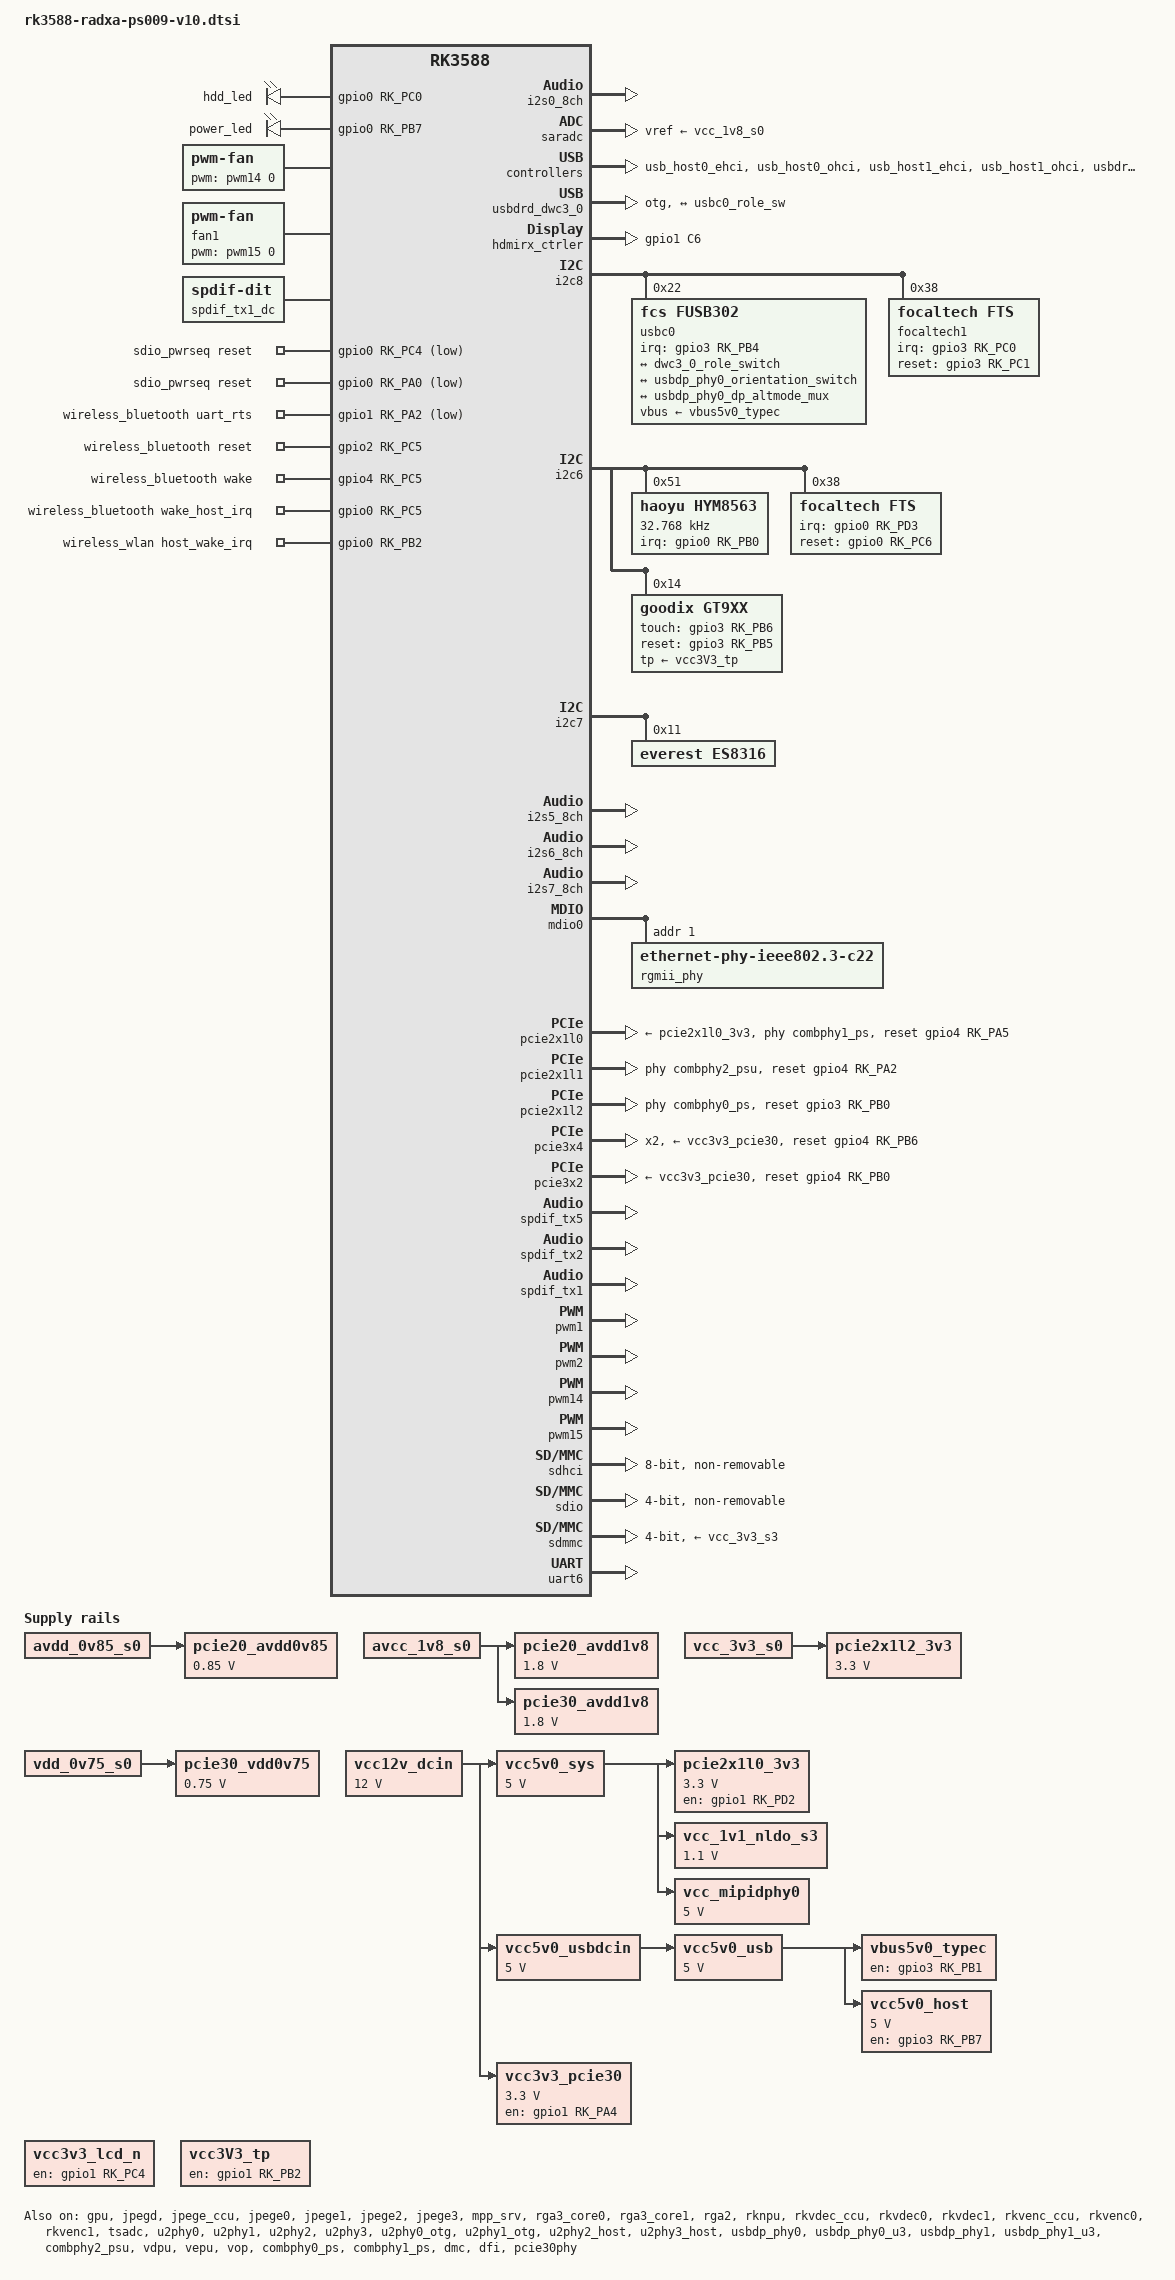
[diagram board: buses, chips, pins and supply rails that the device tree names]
// SPDX-License-Identifier: (GPL-2.0+ OR MIT)
/*
 * Copyright (c) 2021 Rockchip Electronics Co., Ltd.
 *
 */

#include <dt-bindings/gpio/gpio.h>
#include <dt-bindings/pwm/pwm.h>
#include <dt-bindings/pinctrl/rockchip.h>
#include <dt-bindings/input/rk-input.h>
#include <dt-bindings/display/drm_mipi_dsi.h>
#include <dt-bindings/display/rockchip_vop.h>
#include <dt-bindings/sensor-dev.h>
#include "dt-bindings/usb/pd.h"
#include "rk3588.dtsi"
#include "rk3588-rk806-ps009-v10.dtsi"


/ {
	aliases {
		mmc0 = &sdmmc;
		mmc1 = &sdhci;
		mmc2 = &sdio;
	};

	adc_keys: adc-keys {
		compatible = "adc-keys";
		io-channels = <&saradc 1>;
		io-channel-names = "buttons";
		keyup-threshold-microvolt = <1800000>;
		poll-interval = <100>;
	};

	hdmi0_sound: hdmi0-sound {
		status = "disabled";
		compatible = "rockchip,hdmi";
		rockchip,mclk-fs = <128>;
		rockchip,card-name = "rockchip-hdmi0";
		rockchip,cpu = <&i2s5_8ch>;
		rockchip,codec = <&hdmi0>;
		rockchip,jack-det;
	};

	hdmi1_sound: hdmi1-sound {
		status = "okay";
		compatible = "rockchip,hdmi";
		rockchip,mclk-fs = <128>;
		rockchip,card-name = "rockchip-hdmi1";
		rockchip,cpu = <&i2s6_8ch>;
		rockchip,codec = <&hdmi1>;
		rockchip,jack-det;
	};

	dp0_sound: dp0-sound {
		status = "okay";
		compatible = "rockchip,hdmi";
		rockchip,card-name= "rockchip,dp0";
		rockchip,mclk-fs = <512>;
		rockchip,cpu = <&spdif_tx2>;
		rockchip,codec = <&dp0 1>;
		rockchip,jack-det;
	};

	dp1_sound: dp1-sound {
		status = "okay";
		compatible = "rockchip,hdmi";
		rockchip,card-name= "rockchip,dp1";
		rockchip,mclk-fs = <512>;
		rockchip,cpu = <&spdif_tx5>;
		rockchip,codec = <&dp1 1>;
		rockchip,jack-det;
	};

	leds: leds {
		compatible = "gpio-leds";
		hdd_led: hdd-led {
			gpios = <&gpio0 RK_PC0 GPIO_ACTIVE_HIGH>;
			linux,default-trigger = "heartbeat";
		};
		power_led: power-led {
			gpios = <&gpio0 RK_PB7 GPIO_ACTIVE_HIGH>;
			linux,default-trigger = "default-on";
		};
	};

	vcc12v_dcin: vcc12v-dcin {
		compatible = "regulator-fixed";
		regulator-name = "vcc12v_dcin";
		regulator-always-on;
		regulator-boot-on;
		regulator-min-microvolt = <12000000>;
		regulator-max-microvolt = <12000000>;
	};

	vcc5v0_sys: vcc5v0-sys {
		compatible = "regulator-fixed";
		regulator-name = "vcc5v0_sys";
		regulator-always-on;
		regulator-boot-on;
		regulator-min-microvolt = <5000000>;
		regulator-max-microvolt = <5000000>;
		vin-supply = <&vcc12v_dcin>;
	};

	vcc5v0_usbdcin: vcc5v0-usbdcin {
		compatible = "regulator-fixed";
		regulator-name = "vcc5v0_usbdcin";
		regulator-always-on;
		regulator-boot-on;
		regulator-min-microvolt = <5000000>;
		regulator-max-microvolt = <5000000>;
		vin-supply = <&vcc12v_dcin>;
	};

	vcc5v0_usb: vcc5v0-usb {
		compatible = "regulator-fixed";
		regulator-name = "vcc5v0_usb";
		regulator-always-on;
		regulator-boot-on;
		regulator-min-microvolt = <5000000>;
		regulator-max-microvolt = <5000000>;
		vin-supply = <&vcc5v0_usbdcin>;
	};

	/* If hdmirx node is disabled, delete the reserved-memory node here. */
	reserved-memory {
		#address-cells = <2>;
		#size-cells = <2>;
		ranges;

		/* Reserve 256MB memory for hdmirx-controller@fdee0000 */
		cma {
			compatible = "shared-dma-pool";
			reusable;
			reg = <0x0 (256 * 0x100000) 0x0 (256 * 0x100000)>;
			linux,cma-default;
		};
	};

	es8316_sound: es8316-sound {
		status = "okay";
		compatible = "simple-audio-card";
		simple-audio-card,format = "i2s";
		simple-audio-card,mclk-fs = <256>;
		simple-audio-card,name = "rockchip,es8316-codec";
		simple-audio-card,dai-link@0 {
			format = "i2s";
			cpu {
				sound-dai = <&i2s0_8ch>;
			};
			codec {
				sound-dai = <&es8316>;
			};
		};
	};

	fan: pwm-fan {
		compatible = "pwm-fan";
		#cooling-cells = <2>;
		pwms = <&pwm14 0 50000 0>;
		cooling-levels = <0 50 100 150 200 255>;
		rockchip,temp-trips = <
                50000   1
                55000   2
                60000   3
                65000   4
                70000   5
        >;
	};

	fan1: pwm-fan1 {
		compatible = "pwm-fan";
		#cooling-cells = <2>;
		pwms = <&pwm15 0 50000 0>;
		cooling-levels = <0 50 100 150 200 255>;
		rockchip,temp-trips = <
                50000   1
                55000   2
                60000   3
                65000   4
                70000   5
        >;
	};

    spdif_tx1_dc: spdif-tx1-dc {
        status = "okay";
        compatible = "linux,spdif-dit";
        #sound-dai-cells = <0>;
    };

    spdif_tx1_sound: spdif-tx1-sound {
        status = "okay";
        compatible = "simple-audio-card";
        simple-audio-card,mclk-fs = <128>;
        simple-audio-card,name = "rockchip,spdif-tx1";
        simple-audio-card,cpu {
            sound-dai = <&spdif_tx1>;
        };
        simple-audio-card,codec {
            sound-dai = <&spdif_tx1_dc>;
        };
    };



	hdmiin_dc: hdmiin-dc {
		compatible = "rockchip,dummy-codec";
		#sound-dai-cells = <0>;
	};

	hdmiin-sound {
		compatible = "simple-audio-card";
		simple-audio-card,format = "i2s";
		simple-audio-card,name = "rockchip,hdmiin";
		simple-audio-card,bitclock-master = <&dailink0_master>;
		simple-audio-card,frame-master = <&dailink0_master>;
		status = "okay";
		simple-audio-card,cpu {
			sound-dai = <&i2s7_8ch>;
		};
		dailink0_master: simple-audio-card,codec {
			sound-dai = <&hdmiin_dc>;
		};
	};

	pcie20_avdd0v85: pcie20-avdd0v85 {
		compatible = "regulator-fixed";
		regulator-name = "pcie20_avdd0v85";
		regulator-boot-on;
		regulator-always-on;
		regulator-min-microvolt = <850000>;
		regulator-max-microvolt = <850000>;
		vin-supply = <&avdd_0v85_s0>;
	};

	pcie20_avdd1v8: pcie20-avdd1v8 {
		compatible = "regulator-fixed";
		regulator-name = "pcie20_avdd1v8";
		regulator-boot-on;
		regulator-always-on;
		regulator-min-microvolt = <1800000>;
		regulator-max-microvolt = <1800000>;
		vin-supply = <&avcc_1v8_s0>;
	};

    // PCIe 2.0 E-Key Socket ( Wireless NIC )
	pcie2x1l0_3v3: pcie2x1l1-3v3 {
		compatible = "regulator-fixed";
		regulator-name = "pcie2x1l0_3v3";
		regulator-min-microvolt = <3300000>;
		regulator-max-microvolt = <3300000>;
		regulator-boot-on;
		regulator-always-on;
		enable-active-high;
		gpios = <&gpio1 RK_PD2 GPIO_ACTIVE_HIGH>;
		startup-delay-us = <5000>;
		vin-supply = <&vcc5v0_sys>;
		regulator-state-mem {
			regulator-off-in-suspend;
		};
	};

	pcie2x1l2_3v3: pcie2x1l2-3v3 {
		compatible = "regulator-fixed";
		regulator-name = "pcie2x1l2_3v3";
		regulator-min-microvolt = <3300000>;
		regulator-max-microvolt = <3300000>;
		regulator-boot-on;
		regulator-always-on;
		startup-delay-us = <5000>;
		vin-supply = <&vcc_3v3_s0>;
	};

	pcie30_vdd0v75: pcie30-avdd0v75 {
		compatible = "regulator-fixed";
		regulator-name = "pcie30_vdd0v75";
		regulator-boot-on;
		regulator-always-on;
		regulator-min-microvolt = <750000>;
		regulator-max-microvolt = <750000>;
		vin-supply = <&vdd_0v75_s0>;
	};

	pcie30_avdd1v8: pcie30-avdd1v8 {
		compatible = "regulator-fixed";
		regulator-name = "pcie30_avdd1v8";
		regulator-boot-on;
		regulator-always-on;
		regulator-min-microvolt = <1800000>;
		regulator-max-microvolt = <1800000>;
		vin-supply = <&avcc_1v8_s0>;
	};

	rk_headset: rk-headset {
		status = "disabled";
		compatible = "rockchip_headset";
		headset_gpio = <&gpio1 RK_PD5 GPIO_ACTIVE_LOW>;
		pinctrl-names = "default";
		pinctrl-0 = <&hp_det>;
		io-channels = <&saradc 3>;
	};

	vbus5v0_typec: vbus5v0-typec {
		compatible = "regulator-fixed";
		regulator-name = "vbus5v0_typec";
		gpio = <&gpio3 RK_PB1 GPIO_ACTIVE_HIGH>;
		enable-active-high;
		vin-supply = <&vcc5v0_usb>;
		pinctrl-names = "default";
		pinctrl-0 = <&typec5v_pwren>;
	};

	vcc_1v1_nldo_s3: vcc-1v1-nldo-s3 {
		compatible = "regulator-fixed";
		regulator-name = "vcc_1v1_nldo_s3";
		regulator-always-on;
		regulator-boot-on;
		regulator-min-microvolt = <1100000>;
		regulator-max-microvolt = <1100000>;
		vin-supply = <&vcc5v0_sys>;
	};

	vcc3v3_lcd_n: vcc3v3-lcd0-n {
		compatible = "regulator-fixed";
		regulator-name = "vcc3v3_lcd0_n";
		regulator-boot-on;
		enable-active-high;
		gpio = <&gpio1 RK_PC4 GPIO_ACTIVE_HIGH>;
		regulator-state-mem {
			regulator-off-in-suspend;
		};
	};

	vcc3v3_pcie30: vcc3v3-pcie30 {
		compatible = "regulator-fixed";
		regulator-name = "vcc3v3_pcie30";
		regulator-min-microvolt = <3300000>;
		regulator-max-microvolt = <3300000>;
		enable-active-high;
		gpios = <&gpio1 RK_PA4 GPIO_ACTIVE_HIGH>;
		startup-delay-us = <5000>;
		vin-supply = <&vcc12v_dcin>;
	};

	vcc5v0_host: vcc5v0-host {
		compatible = "regulator-fixed";
		regulator-name = "vcc5v0_host";
		regulator-boot-on;
		regulator-always-on;
		regulator-min-microvolt = <5000000>;
		regulator-max-microvolt = <5000000>;
		enable-active-high;
		gpio = <&gpio3 RK_PB7 GPIO_ACTIVE_HIGH>;
		vin-supply = <&vcc5v0_usb>;
		pinctrl-names = "default";
		pinctrl-0 = <&vcc5v0_host_en>;
	};

	vcc3V3_tp: vcc3V3-tp {
		compatible = "regulator-fixed";
		gpio = <&gpio1 RK_PB2 GPIO_ACTIVE_HIGH>;
		pinctrl-names = "default";
		pinctrl-0 = <&tp_pwr>;
		regulator-name = "vcc3V3_tp";
		enable-active-high;
	};

/*
	vcc_mipicsi0: vcc-mipicsi0-regulator {
		compatible = "regulator-fixed";
		gpio = <&gpio1 RK_PB1 GPIO_ACTIVE_HIGH>;
		pinctrl-names = "default";
		pinctrl-0 = <&mipicsi0_pwr>;
		regulator-name = "vcc_mipicsi0";
		enable-active-high;
	};

	vcc_mipicsi1: vcc-mipicsi1-regulator {
		compatible = "regulator-fixed";
		gpio = <&gpio1 RK_PB2 GPIO_ACTIVE_HIGH>;
		pinctrl-names = "default";
		pinctrl-0 = <&mipicsi1_pwr>;
		regulator-name = "vcc_mipicsi1";
		enable-active-high;
	};
*/
	vcc_mipidphy0: vcc-mipidphy0-regulator {
		compatible = "regulator-fixed";
		regulator-name = "vcc_mipidphy0";
		regulator-min-microvolt = <5000000>;
		regulator-max-microvolt = <5000000>;
		vin-supply = <&vcc5v0_sys>;
	};

	sdio_pwrseq: sdio-pwrseq {
        compatible = "mmc-pwrseq-simple";
        clocks = <&hym8563>;
        clock-names = "ext_clock";
        pinctrl-names = "default";
        pinctrl-0 = <&wifi_enable_h>;
        /*
         * On the module itself this is one of these (depending
         * on the actual card populated):
         * - SDIO_RESET_L_WL_REG_ON
         * - PDN (power down when low)
         */
        post-power-on-delay-ms = <500>;
		reset-gpios = <&gpio0 RK_PC4 GPIO_ACTIVE_LOW>,<&gpio0 RK_PA0 GPIO_ACTIVE_LOW>;

    };

	wireless_bluetooth: wireless-bluetooth {
        compatible = "bluetooth-platdata";
        clocks = <&hym8563>;
        clock-names = "ext_clock";
        uart_rts_gpios = <&gpio1 RK_PA2 GPIO_ACTIVE_LOW>;
        pinctrl-names = "default", "rts_gpio";
        pinctrl-0 = <&uart6m1_rtsn>, <&bt_reset_gpio>, <&bt_wake_gpio>, <&bt_irq_gpio>;
        pinctrl-1 = <&uart6_gpios>;
        BT,reset_gpio    = <&gpio2 RK_PC5 GPIO_ACTIVE_HIGH>;
        BT,wake_gpio     = <&gpio4 RK_PC5 GPIO_ACTIVE_HIGH>;
        BT,wake_host_irq = <&gpio0 RK_PC5 GPIO_ACTIVE_HIGH>;
        status = "okay";
	};

	wireless_wlan: wireless-wlan {
        compatible = "wlan-platdata";
        wifi_chip_type = "ap6255";
        pinctrl-names = "default";
        pinctrl-0 = <&wifi_host_wake_irq>;
        WIFI,host_wake_irq = <&gpio0 RK_PB2 GPIO_ACTIVE_HIGH>;
		//WIFI,poweren_gpio = <&gpio0 RK_PC4 GPIO_ACTIVE_HIGH>;
        status = "okay";
	};

	test-power {
		status = "okay";
	};
};

&av1d_mmu {
	status = "okay";
};

&cpu_l0 {
	cpu-supply = <&vdd_cpu_lit_s0>;
	mem-supply = <&vdd_cpu_lit_mem_s0>;
};

&cpu_b0 {
	cpu-supply = <&vdd_cpu_big0_s0>;
	mem-supply = <&vdd_cpu_big0_mem_s0>;
};

&cpu_b2 {
	cpu-supply = <&vdd_cpu_big1_s0>;
	mem-supply = <&vdd_cpu_big1_mem_s0>;
};

&gpu {
	mali-supply = <&vdd_gpu_s0>;
	mem-supply = <&vdd_gpu_mem_s0>;
	status = "okay";
};

&i2s0_8ch {
	status = "okay";
	pinctrl-0 = <&i2s0_lrck
		     &i2s0_sclk
		     &i2s0_sdi0
		     &i2s0_sdo0>;
};

&jpegd {
	status = "okay";
};

&jpegd_mmu {
	status = "okay";
};

&jpege_ccu {
	status = "okay";
};

&jpege0 {
	status = "okay";
};

&jpege0_mmu {
	status = "okay";
};

&jpege1 {
	status = "okay";
};

&jpege1_mmu {
	status = "okay";
};

&jpege2 {
	status = "okay";
};

&jpege2_mmu {
	status = "okay";
};

&jpege3 {
	status = "okay";
};

&jpege3_mmu {
	status = "okay";
};

&mpp_srv {
	status = "okay";
};

&rga3_core0 {
	status = "okay";
};

&rga3_0_mmu {
	status = "okay";
};

&rga3_core1 {
	status = "okay";
};

&rga3_1_mmu {
	status = "okay";
};

&rga2 {
	status = "okay";
};

&rknpu {
	rknpu-supply = <&vdd_npu_s0>;
	mem-supply = <&vdd_npu_mem_s0>;
	status = "okay";
};

&rknpu_mmu {
	status = "okay";
};

&rkvdec_ccu {
	status = "okay";
};

&rkvdec0 {
	status = "okay";
};

&rkvdec0_mmu {
	status = "okay";
};

&rkvdec1 {
	status = "okay";
};

&rkvdec1_mmu {
	status = "okay";
};

&rkvenc_ccu {
	status = "okay";
};

&rkvenc0 {
	status = "okay";
};

&rkvenc0_mmu {
	status = "okay";
};

&rkvenc1 {
	status = "okay";
};

&rkvenc1_mmu {
	status = "okay";
};

&rockchip_suspend {
	status = "okay";
	rockchip,sleep-debug-en = <1>;
};

&saradc {
	status = "okay";
	vref-supply = <&vcc_1v8_s0>;
};

&tsadc {
	status = "okay";
};

&u2phy0 {
	status = "okay";
};

&u2phy1 {
	status = "okay";
};

&u2phy2 {
	status = "okay";
};

&u2phy3 {
	status = "okay";
};

&u2phy0_otg {
	status = "okay";
	rockchip,typec-vbus-det;
};

&u2phy1_otg {
	status = "okay";
	phy-supply = <&vcc5v0_host>;
};

&u2phy2_host {
	status = "okay";
	phy-supply = <&vcc5v0_host>;
};

&u2phy3_host {
	status = "okay";
	phy-supply = <&vcc5v0_host>;
};

&usbdp_phy0 {
	status = "okay";
	orientation-switch;
	svid = <0xff01>;
	sbu1-dc-gpios = <&gpio4 RK_PB7 GPIO_ACTIVE_HIGH>;
	sbu2-dc-gpios = <&gpio4 RK_PC0 GPIO_ACTIVE_HIGH>;

	port {
		#address-cells = <1>;
		#size-cells = <0>;
		usbdp_phy0_orientation_switch: endpoint@0 {
			reg = <0>;
			remote-endpoint = <&usbc0_orien_sw>;
		};

		usbdp_phy0_dp_altmode_mux: endpoint@1 {
			reg = <1>;
			remote-endpoint = <&dp_altmode_mux>;
		};
	};
};



&usbdp_phy0_u3 {
	status = "okay";
};

&usbdp_phy1 {
	status = "okay";
	rockchip,dp-lane-mux = <2 3>;
};

&usbdp_phy1_u3 {
	status = "okay";
};

&combphy2_psu {
	status = "okay";
};

&usb_host0_ehci {
	status = "okay";
};

&usb_host0_ohci {
	status = "okay";
};

&usb_host1_ehci {
	status = "okay";
};

&usb_host1_ohci {
	status = "okay";
};

&usbdrd3_0 {
	status = "okay";
};

&usbdrd_dwc3_0 {
	status = "okay";
	dr_mode = "otg";
	usb-role-switch;
	port {
		#address-cells = <1>;
		#size-cells = <0>;
		dwc3_0_role_switch: endpoint@0 {
			reg = <0>;
			remote-endpoint = <&usbc0_role_sw>;
		};
	};
};

&usbdrd3_1 {
	status = "okay";
};

&usbdrd_dwc3_1 {
	status = "okay";
};

&usbhost3_0 {
	status = "disabled";
};

&usbhost_dwc3_0 {
	status = "disabled";
};

&vdpu {
	status = "okay";
};

&vdpu_mmu {
	status = "okay";
};

&vepu {
	status = "okay";
};

&vop {
	status = "okay";
};

&vop_mmu {
	status = "okay";
};

&combphy0_ps {
	status = "okay";
};

&combphy1_ps {
	status = "okay";
};


&dmc {
	center-supply = <&vdd_ddr_s0>;
	mem-supply = <&vdd_log_s0>;
	status = "okay";
};

&dfi {
	status = "okay";
};

/* Should work with at least 128MB cma reserved above. */
&hdmirx_ctrler {
	status = "okay";

	pinctrl-0 = <&hdmim1_rx_cec &hdmim1_rx_hpdin &hdmim1_rx_scl &hdmim1_rx_sda &hdmirx_det>;
	/* Effective level used to trigger HPD: 0-low, 1-high */
	hpd-trigger-level = <1>;
	hdmirx-det-gpios = <&gpio1 RK_PC6 GPIO_ACTIVE_LOW>;
};



&i2c8 {
	status = "okay";
	pinctrl-names = "default";
	pinctrl-0 = <&i2c8m4_xfer>;

	usbc0: fusb302@22 {
		compatible = "fcs,fusb302";
		reg = <0x22>;
		interrupt-parent = <&gpio3>;
		interrupts = <RK_PB4 IRQ_TYPE_LEVEL_LOW>;
		pinctrl-names = "default";
		pinctrl-0 = <&usbc0_int>;
		vbus-supply = <&vbus5v0_typec>;
		status = "okay";

		ports {
			#address-cells = <1>;
			#size-cells = <0>;

			port@0 {
				reg = <0>;
				usbc0_role_sw: endpoint@0 {
					remote-endpoint = <&dwc3_0_role_switch>;
				};
			};
		};

		usb_con: connector {
			compatible = "usb-c-connector";
			label = "USB-C";
			data-role = "dual";
			power-role = "dual";
			try-power-role = "sink";
			op-sink-microwatt = <1000000>;

			sink-pdos =
				<PDO_FIXED(5000, 3000, PDO_FIXED_USB_COMM)>;
			//	 PDO_FIXED(9000, 3000, PDO_FIXED_USB_COMM)
			//	 PDO_FIXED(12000, 2500, PDO_FIXED_USB_COMM)>;
			source-pdos =
				<PDO_FIXED(5000, 3000, PDO_FIXED_USB_COMM)>;

			altmodes {
				#address-cells = <1>;
				#size-cells = <0>;

				altmode@0 {
					reg = <0>;
					svid = <0xff01>;
					vdo = <0xffffffff>;
				};
			};

			ports {
				#address-cells = <1>;
				#size-cells = <0>;

				port@0 {
					reg = <0>;
					usbc0_orien_sw: endpoint {
						remote-endpoint = <&usbdp_phy0_orientation_switch>;
					};
				};

				port@1 {
					reg = <1>;
					dp_altmode_mux: endpoint {
						remote-endpoint = <&usbdp_phy0_dp_altmode_mux>;
					};
				};
			};
		};
	};

	//dsi 1
	focaltech1: focaltech@38 {
		status = "okay";
		compatible = "focaltech,fts";
		reg = <0x38>;
		pinctrl-names = "default";
		pinctrl-0 = <&focaltech1_gpio>;
		focaltech,irq-gpio = <&gpio3 RK_PC0 IRQ_TYPE_LEVEL_LOW>;
		focaltech,reset-gpio = <&gpio3 RK_PC1 GPIO_ACTIVE_HIGH>;
		focaltech,display-coords = <0 0 799 1279>;
	};
};

&i2c6 {
	status = "okay";

	hym8563: hym8563@51 {
		compatible = "haoyu,hym8563";
		reg = <0x51>;
		#clock-cells = <0>;
		clock-frequency = <32768>;
		clock-output-names = "hym8563";
		pinctrl-names = "default";
		pinctrl-0 = <&hym8563_int>;
		interrupt-parent = <&gpio0>;
		interrupts = <RK_PB0 IRQ_TYPE_LEVEL_LOW>;
		wakeup-source;
	};

	//dsi 0
	focaltech: focaltech@38 {
		status = "okay";
		compatible = "focaltech,fts";
		reg = <0x38>;
		pinctrl-names = "default";
		pinctrl-0 = <&focaltech_gpio>;
		focaltech,irq-gpio = <&gpio0 RK_PD3 IRQ_TYPE_LEVEL_LOW>;
		focaltech,reset-gpio = <&gpio0 RK_PC6 GPIO_ACTIVE_HIGH>;
		focaltech,display-coords = <0 0 799 1279>;
	};

	//j12
	gt9xx: gt9xx@14 {
        status = "okay";
		pinctrl-names = "default";
		pinctrl-0 = <&gt9xx_gpio>;
        compatible = "goodix,gt9xx";
        reg = <0x14>;
        touch-gpio = <&gpio3 RK_PB6 IRQ_TYPE_LEVEL_HIGH>;
        reset-gpio = <&gpio3 RK_PB5 GPIO_ACTIVE_HIGH>;
        max-x = <800>;
        max-y = <1280>;
        tp-size = <9112>;
        tp-supply = <&vcc3V3_tp>;
    };
};

&i2c7 {
	status = "okay";
	es8316: es8316@11 {
		compatible = "everest,es8316";
		reg = <0x11>;
		clocks = <&cru I2S0_8CH_MCLKOUT>;
		clock-names = "mclk";
		pinctrl-names = "default";
		pinctrl-0 = <&i2s0_mclk>;
		#sound-dai-cells = <0>;
	};
};

&i2s5_8ch {
	status = "okay";
};

&i2s6_8ch {
	status = "okay";
};

&i2s7_8ch {
	status = "okay";
};

&iep {
	status = "disabled";
};

&iep_mmu {
	status = "disabled";
};

&mdio0 {
	rgmii_phy: phy@1 {
		compatible = "ethernet-phy-ieee802.3-c22";
		reg = <0x1>;
	};
};

// PCIE M.2 NGFF E-KEY SOCKET
&pcie2x1l0 {
	phys = <&combphy1_ps PHY_TYPE_PCIE>;
	reset-gpios = <&gpio4 RK_PA5 GPIO_ACTIVE_HIGH>;
	vpcie3v3-supply = <&pcie2x1l0_3v3>;
	status = "okay";
};

// R8125-0
&pcie2x1l1 {
	phys = <&combphy2_psu PHY_TYPE_PCIE>;
	reset-gpios = <&gpio4 RK_PA2 GPIO_ACTIVE_HIGH>;
	status = "okay";
};

// R8125-1
&pcie2x1l2 {
	phys = <&combphy0_ps PHY_TYPE_PCIE>;
	reset-gpios = <&gpio3 RK_PB0 GPIO_ACTIVE_HIGH>;
//	vpcie3v3-supply = <&pcie2x1l2_3v3>;
	status = "okay";
};

//M.2 SSD
&pcie3x4 {
	num-lanes = <2>;
	reset-gpios = <&gpio4 RK_PB6 GPIO_ACTIVE_HIGH>;
	vpcie3v3-supply = <&vcc3v3_pcie30>;
	status = "okay";
};

//2+2
&pcie30phy {
	rockchip,pcie30-phymode = <PHY_MODE_PCIE_NANBNB>;
	status = "okay";
};

//pcie-->sata
&pcie3x2 {
	reset-gpios = <&gpio4 RK_PB0 GPIO_ACTIVE_HIGH>;
	vpcie3v3-supply = <&vcc3v3_pcie30>;
	status = "okay";
};

&spdif_tx5 {
	status = "okay";
};

&spdif_tx2{
	status = "okay";
};

&spdif_tx1 {
	status = "okay";
	pinctrl-names = "default";
	pinctrl-0 = <&spdif1m2_tx>;
};

&pinctrl {
	cam {
		mipicsi0_pwr: mipicsi0-pwr {
			rockchip,pins =
				/* camera power en */
				<1 RK_PB1 RK_FUNC_GPIO &pcfg_pull_none>;
		};
		mipicsi1_pwr: mipicsi1-pwr {
			rockchip,pins =
				/* camera power en */
				<1 RK_PB2 RK_FUNC_GPIO &pcfg_pull_none>;
		};
	};

	tp {
		tp_pwr: tp-pwr {
			rockchip,pins =
				/* tp power en */
				<1 RK_PB2 RK_FUNC_GPIO &pcfg_pull_none>;
		};
	};

	dp {
		dp1_hpd: dp1-hpd {
			rockchip,pins = <1 RK_PB5 RK_FUNC_GPIO &pcfg_pull_none>;
		};
	};

	hdmirx {
		hdmirx_det: hdmirx-det {
			rockchip,pins = <1 RK_PC6 RK_FUNC_GPIO &pcfg_pull_up>;
		};
	};

	headphone {
		hp_det: hp-det {
			rockchip,pins = <1 RK_PD5 RK_FUNC_GPIO &pcfg_pull_none>;
		};
	};

	hym8563 {
		hym8563_int: hym8563-int {
			rockchip,pins = <0 RK_PB0 RK_FUNC_GPIO &pcfg_pull_up>;
		};
	};

	led {
		led_sta: led-sta {
			rockchip,pins = <0 RK_PB7 RK_FUNC_GPIO &pcfg_pull_up>;
		};
	};

	sdio-pwrseq {
        wifi_enable_h: wifi-enable-h {
            rockchip,pins = <0 RK_PC4 RK_FUNC_GPIO &pcfg_pull_up>,
							<0 RK_PA0 RK_FUNC_GPIO &pcfg_pull_up>;
        };
    };

	wireless-bluetooth {
        uart6_gpios: uart6-gpios {
            rockchip,pins = <1 RK_PA2 RK_FUNC_GPIO &pcfg_pull_none>;
        };

        bt_reset_gpio: bt-reset-gpio {
            rockchip,pins = <2 RK_PC5 RK_FUNC_GPIO &pcfg_pull_none>;
        };

        bt_wake_gpio: bt-wake-gpio {
            rockchip,pins = <4 RK_PC5 RK_FUNC_GPIO &pcfg_pull_none>;
        };

        bt_irq_gpio: bt-irq-gpio {
            rockchip,pins = <0 RK_PC5 RK_FUNC_GPIO &pcfg_pull_down>;
        };
	};

	wireless-wlan {
        wifi_host_wake_irq: wifi-host-wake-irq {
                rockchip,pins = <0 RK_PB2 RK_FUNC_GPIO &pcfg_pull_down>;
        };

        wifi_poweren_gpio: wifi-poweren-gpio {
                rockchip,pins = <0 RK_PC4 RK_FUNC_GPIO &pcfg_pull_up>;
        };
    };

	usb {
		vcc5v0_host_en: vcc5v0-host-en {
			rockchip,pins = <3 RK_PB7 RK_FUNC_GPIO &pcfg_pull_none>;
		};
	};

	usb-typec {
		usbc0_int: usbc0-int {
			rockchip,pins = <3 RK_PB4 RK_FUNC_GPIO &pcfg_pull_up>;
		};

		typec5v_pwren: typec5v-pwren {
			rockchip,pins = <3 RK_PB1 RK_FUNC_GPIO &pcfg_pull_none>;
		};
	};

	focaltech {
		focaltech_gpio: focaltech-gpio {
		    rockchip,pins =
				<0 RK_PD3 RK_FUNC_GPIO &pcfg_pull_none>,
				<0 RK_PC6 RK_FUNC_GPIO &pcfg_pull_up>;
		};

		focaltech1_gpio: focaltech1-gpio {
		    rockchip,pins =
				<3 RK_PC0 RK_FUNC_GPIO &pcfg_pull_none>,
				<3 RK_PC1 RK_FUNC_GPIO &pcfg_pull_up>;
		};
	};

	gt9xx {
        gt9xx_gpio: gt9xx-gpio {
            rockchip,pins =
                <3 RK_PB5 RK_FUNC_GPIO &pcfg_pull_none>,
                <3 RK_PB6 RK_FUNC_GPIO &pcfg_pull_up>;
        };
    };
};

&i2c8m4_xfer {
	rockchip,pins =
		/* i2c8_scl_m4 */
		<3 RK_PC2 9 &pcfg_pull_up>,
		/* i2c8_sda_m4 */
		<3 RK_PC3 9 &pcfg_pull_up>;
};

&pwm1 {
	pinctrl-0 = <&pwm1m0_pins>;
	status = "okay";
};

&pwm2 {
	pinctrl-names = "active";
	pinctrl-0 = <&pwm2m2_pins>;
	status = "okay";
};

&pwm14 {
	pinctrl-0 = <&pwm14m1_pins>;
	status = "okay";
};


&pwm15 {
	pinctrl-0 = <&pwm15m1_pins>;
	status = "okay";
};

&sata0 {
	status = "disabled";
};

// emmc
&sdhci {
	bus-width = <8>;
	no-sdio;
	no-sd;
	supports-sd;
	non-removable;
	max-frequency = <200000000>;
	mmc-hs400-1_8v;
	mmc-hs400-enhanced-strobe;
	status = "okay";
};

// WLAN
&sdio {
	max-frequency = <150000000>;
	supports-sdio;
	bus-width = <4>;
	disable-wp;
	cap-sd-highspeed;
	cap-sdio-irq;
	keep-power-in-suspend;
	mmc-pwrseq = <&sdio_pwrseq>;
	non-removable;
	pinctrl-names = "default";
	pinctrl-0 = <&sdiom0_pins>;
	sd-uhs-sdr104;
	status = "okay";
};

// SDCARD
&sdmmc {
	max-frequency = <200000000>;
	no-sdio;
	no-mmc;
	bus-width = <4>;
	cap-mmc-highspeed;
	cap-sd-highspeed;
	disable-wp;
	sd-uhs-sdr104;
	supports-emmc;
	vmmc-supply = <&vcc_3v3_s3>;
	vqmmc-supply = <&vccio_sd_s0>;
	pinctrl-names = "default";
	pinctrl-0 = <&sdmmc_bus4 &sdmmc_clk &sdmmc_cmd &sdmmc_det>;
	status = "okay";
};

&uart6 {
	status = "okay";
	pinctrl-names = "default";
	pinctrl-0 = <&uart6m1_xfer &uart6m1_ctsn>;
};

/* vp0 & vp1 splice for 8K output */
&vp0 {
	rockchip,plane-mask = <(1 << ROCKCHIP_VOP2_CLUSTER0 | 1 << ROCKCHIP_VOP2_ESMART0)>;
	rockchip,primary-plane = <ROCKCHIP_VOP2_ESMART0>;
};

&vp1 {
	rockchip,plane-mask = <(1 << ROCKCHIP_VOP2_CLUSTER1 | 1 << ROCKCHIP_VOP2_ESMART1)>;
	rockchip,primary-plane = <ROCKCHIP_VOP2_ESMART1>;
};

&vp2 {
	rockchip,plane-mask = <(1 << ROCKCHIP_VOP2_CLUSTER2 | 1 << ROCKCHIP_VOP2_ESMART2)>;
	rockchip,primary-plane = <ROCKCHIP_VOP2_ESMART2>;
};

&vp3 {
	rockchip,plane-mask = <(1 << ROCKCHIP_VOP2_CLUSTER3 | 1 << ROCKCHIP_VOP2_ESMART3)>;
	rockchip,primary-plane = <ROCKCHIP_VOP2_ESMART3>;
};
